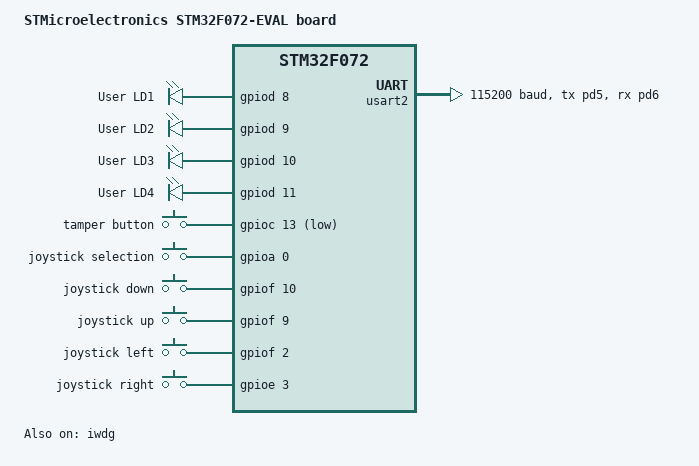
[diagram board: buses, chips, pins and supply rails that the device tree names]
/*
 * Copyright (c) 2017 BayLibre, SAS
 *
 * SPDX-License-Identifier: Apache-2.0
 */

/dts-v1/;
#include <st/f0/stm32f072Xb.dtsi>
#include <st/f0/stm32f072v(8-b)tx-pinctrl.dtsi>

/ {
	model = "STMicroelectronics STM32F072-EVAL board";
	compatible = "st,stm32f072-eval";

	chosen {
		zephyr,console = &usart2;
		zephyr,shell-uart = &usart2;
		zephyr,sram = &sram0;
		zephyr,flash = &flash0;
	};

	leds {
		compatible = "gpio-leds";
		green_led_1: led_1 {
			gpios = <&gpiod 8 GPIO_ACTIVE_HIGH>;
			label = "User LD1";
		};
		orange_led_2: led_2 {
			gpios = <&gpiod 9 GPIO_ACTIVE_HIGH>;
			label = "User LD2";
		};
		red_led_3: led_3 {
			gpios = <&gpiod 10 GPIO_ACTIVE_HIGH>;
			label = "User LD3";
		};
		blue_led_4: led_4 {
			gpios = <&gpiod 11 GPIO_ACTIVE_HIGH>;
			label = "User LD4";
		};
	};

	gpio_keys {
		compatible = "gpio-keys";
		tamper: tamper_button {
			label = "tamper button";
			gpios = <&gpioc 13 GPIO_ACTIVE_LOW>;
		};
		joy_sel: joystick_selection {
			label = "joystick selection";
			gpios = <&gpioa 0 (GPIO_ACTIVE_HIGH | GPIO_PULL_DOWN)>;
		};
		joy_down: joystick_down {
			label = "joystick down";
			gpios = <&gpiof 10 (GPIO_ACTIVE_HIGH | GPIO_PULL_DOWN)>;
		};
		joy_up: joystick_up {
			label = "joystick up";
			gpios = <&gpiof 9 (GPIO_ACTIVE_HIGH | GPIO_PULL_DOWN)>;
		};
		joy_left: joystick_left {
			label = "joystick left";
			gpios = <&gpiof 2 (GPIO_ACTIVE_HIGH | GPIO_PULL_DOWN)>;
		};
		joy_right: joystick_right {
			label = "joystick right";
			gpios = <&gpioe 3 (GPIO_ACTIVE_HIGH | GPIO_PULL_DOWN)>;
		};
	};

	aliases {
		led0 = &green_led_1;
		led1 = &orange_led_2;
		led2 = &red_led_3;
		led3 = &blue_led_4;
		sw0 = &joy_sel;
	};
};

&usart2 {
	pinctrl-0 = <&usart2_tx_pd5 &usart2_rx_pd6>;
	current-speed = <115200>;
	status = "okay";
};

&iwdg {
	status = "okay";
};
